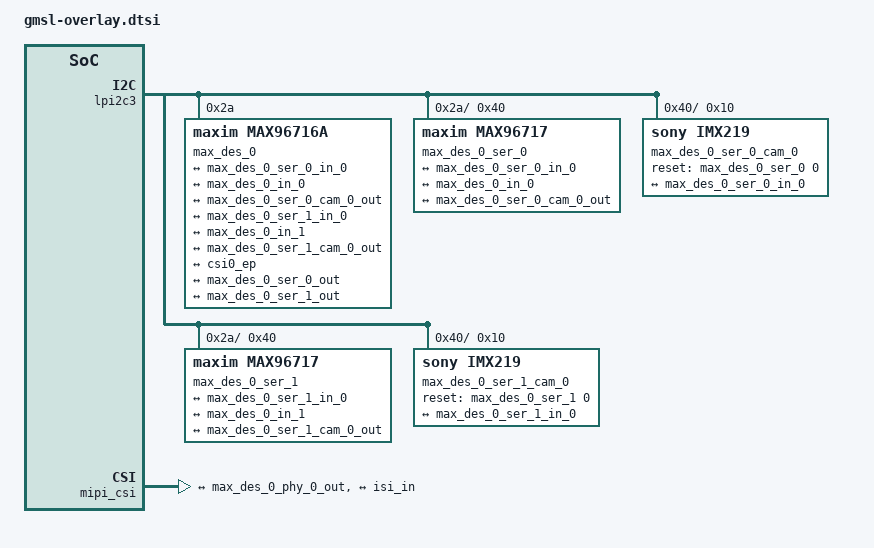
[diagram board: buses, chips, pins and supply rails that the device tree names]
/dts-v1/;
/plugin/;

&lpi2c3 {
	status = "okay";
	max_des_0: gmsl-deserializer@2a {
		#address-cells = <1>;
		#size-cells = <0>;

		compatible = "maxim,max96716a";
		reg = <0x2a>;
	};
};


&max_des_0 {
	i2c-alias-pool = <0x40 0x41 0x42 0x43>;

	max_des_0_i2c_adapter: i2c-atr {
		#address-cells = <1>;
		#size-cells = <0>;
	};

	ports {
		#address-cells = <1>;
		#size-cells = <0>;
	};
};

&max_des_0 {
	ports {
		port@2 {
			reg = <2>;

			max_des_0_phy_0_out: endpoint {
				clock-lanes = <0>;
				data-lanes = <1 2>;
				link-frequencies = /bits/ 64 <750000000>;
			};
		};
	};
};

&mipi_csi {
	status = "okay";

	ports {
		#address-cells = <1>;
		#size-cells = <0>;

		port@0 {
			reg = <0>;

			csi0_ep: endpoint {
				remote-endpoint = <&max_des_0_phy_0_out>;
				clock-lanes = <0>;
				data-lanes = <1 2>;
				link-frequencies = /bits/ 64 <750000000>;
				clock-noncontinuous;
			};
		};

		port@1 {
			reg = <1>;

			mipi_csi_out: endpoint {
				remote-endpoint = <&isi_in>;
			};
		};
	};
};

&max_des_0_phy_0_out {
	remote-endpoint = <&csi0_ep>;
};

&max_des_0_i2c_adapter {
	max_des_0_i2c_0: i2c@0 {
		#address-cells = <1>;
		#size-cells = <0>;
		reg = <0x0>;
	};
};

&max_des_0_i2c_0 {
	max_des_0_ser_0: gmsl-serializer@40 {
		#address-cells = <1>;
		#size-cells = <0>;
		#gpio-cells = <2>;

		compatible = "maxim,max96717";
		reg = <0x40>;

		gpio-controller;
		gpio-ranges = <&max_des_0_ser_0 0 0 11>;
	};
};

&max_des_0_ser_0 {
	i2c-alias-pool = <0x50 0x51>;

	i2c-atr {
		#address-cells = <1>;
		#size-cells = <0>;

		max_des_0_ser_0_i2c_0: i2c@0 {
			#address-cells = <1>;
			#size-cells = <0>;
			reg = <0x0>;
		};
	};

	ports {
		#address-cells = <1>;
		#size-cells = <0>;

		port@1 {
			reg = <1>;

			max_des_0_ser_0_out: endpoint {
				remote-endpoint = <&max_des_0_in_0>;
			};
		};
	};
};

&max_des_0 {
	ports {
		port@0 {
			reg = <0x0>;

			max_des_0_in_0: endpoint {
				remote-endpoint = <&max_des_0_ser_0_out>;
			};
		};
	};
};

&{/} {
	max_des_0_ser_0_cam_0_xclk: max_des_0_ser_0_cam_0_xclk {
		compatible = "fixed-clock";
		#clock-cells = <0>;
		clock-frequency = <24000000>;
	};
};

&max_des_0_ser_0_i2c_0 {
	max_des_0_ser_0_cam_0: imx219@10 {
		compatible = "sony,imx219";
		reg = <0x10>;

		reset-gpios = <&max_des_0_ser_0 0 0>;

		clocks = <&max_des_0_ser_0_cam_0_xclk>;
		clock-names = "xclk";

		rotation = <180>;
		orientation = <2>;

		port {
			max_des_0_ser_0_cam_0_out: endpoint {
				clock-lanes = <0>;
				data-lanes = <1 2>;
				clock-noncontinuous;
				link-frequencies = /bits/ 64 <456000000>;
				remote-endpoint = <&max_des_0_ser_0_in_0>;
			};
		};
	};
};

&max_des_0_ser_0 {
	ports {
		port@0 {
			reg = <0>;

			max_des_0_ser_0_in_0: endpoint {
				clock-lanes = <0>;
				data-lanes = <1 2>;
				clock-noncontinuous;
				link-frequencies = /bits/ 64 <456000000>;
				remote-endpoint = <&max_des_0_ser_0_cam_0_out>;
			};
		};
	};
};

&max_des_0_i2c_adapter {
	max_des_0_i2c_1: i2c@1 {
		#address-cells = <1>;
		#size-cells = <0>;
		reg = <0x1>;
	};
};

&max_des_0_i2c_1 {
	max_des_0_ser_1: gmsl-serializer@40 {
		#address-cells = <1>;
		#size-cells = <0>;
		#gpio-cells = <2>;

		compatible = "maxim,max96717";
		reg = <0x40>;

		gpio-controller;
		gpio-ranges = <&max_des_0_ser_1 0 0 11>;
	};
};

&max_des_0_ser_1 {
	i2c-alias-pool = <0x52 0x53>;

	i2c-atr {
		#address-cells = <1>;
		#size-cells = <0>;

		max_des_0_ser_1_i2c_0: i2c@0 {
			#address-cells = <1>;
			#size-cells = <0>;
			reg = <0x0>;
		};
	};

	ports {
		#address-cells = <1>;
		#size-cells = <0>;

		port@1 {
			reg = <1>;

			max_des_0_ser_1_out: endpoint {
				remote-endpoint = <&max_des_0_in_1>;
			};
		};
	};
};

&max_des_0 {
	ports {
		port@1 {
			reg = <0x1>;

			max_des_0_in_1: endpoint {
				remote-endpoint = <&max_des_0_ser_1_out>;
			};
		};
	};
};

&{/} {
	max_des_0_ser_1_cam_0_xclk: max_des_0_ser_1_cam_0_xclk {
		compatible = "fixed-clock";
		#clock-cells = <0>;
		clock-frequency = <24000000>;
	};
};

&max_des_0_ser_1_i2c_0 {
	max_des_0_ser_1_cam_0: imx219@10 {
		compatible = "sony,imx219";
		reg = <0x10>;

		reset-gpios = <&max_des_0_ser_1 0 0>;

		clocks = <&max_des_0_ser_1_cam_0_xclk>;
		clock-names = "xclk";

		rotation = <180>;
		orientation = <2>;

		port {
			max_des_0_ser_1_cam_0_out: endpoint {
				clock-lanes = <0>;
				data-lanes = <1 2>;
				clock-noncontinuous;
				link-frequencies = /bits/ 64 <456000000>;
				remote-endpoint = <&max_des_0_ser_1_in_0>;
			};
		};
	};
};

&max_des_0_ser_1 {
	ports {
		port@0 {
			reg = <0>;

			max_des_0_ser_1_in_0: endpoint {
				clock-lanes = <0>;
				data-lanes = <1 2>;
				clock-noncontinuous;
				link-frequencies = /bits/ 64 <456000000>;
				remote-endpoint = <&max_des_0_ser_1_cam_0_out>;
			};
		};
	};
};
